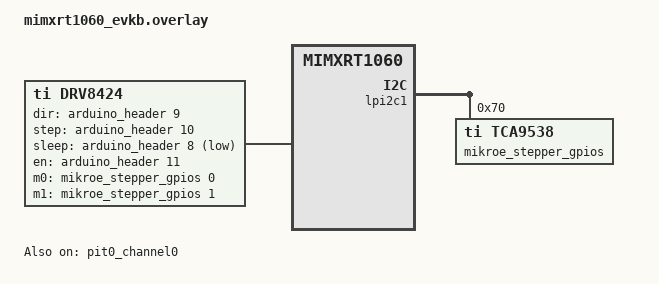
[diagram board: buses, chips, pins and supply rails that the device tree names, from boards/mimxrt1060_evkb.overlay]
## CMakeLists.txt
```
# Copyright (c) 2024 TiaC Systems
# SPDX-License-Identifier: Apache-2.0

cmake_minimum_required(VERSION 3.20.0)

find_package(Zephyr REQUIRED HINTS $ENV{ZEPHYR_BASE})
project(stepper_drv8424)
target_sources(app PRIVATE
	src/main.c
)
```

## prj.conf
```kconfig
# Copyright (c) 2024 TiaC Systems
# SPDX-License-Identifier: Apache-2.0

CONFIG_ZTEST=y
CONFIG_TEST=y
CONFIG_TEST_USERSPACE=y
CONFIG_LOG=y
CONFIG_STEPPER_LOG_LEVEL_DBG=y
CONFIG_STEPPER=y
CONFIG_POLL=y
CONFIG_COUNTER=y
CONFIG_I2C=y
CONFIG_GPIO=y
```

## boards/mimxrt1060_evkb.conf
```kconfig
# Copyright (c) 2024 Jilay Sandeep Pandya
# SPDX-License-Identifier: Apache-2.0

CONFIG_GPIO=y
```

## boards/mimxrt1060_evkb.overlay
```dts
/*
 * Copyright (c) 2024 TiaC Systems
 * SPDX-License-Identifier: Apache-2.0
 */

 #include <zephyr/dt-bindings/gpio/gpio.h>

 / {
	 zephyr,user {
		 stepper-motors = <&drv8424 0>;
	 };
 };
 
 &lpi2c1 {
	 status = "okay";
 
	 mikroe_stepper_gpios: mikroe_stepper_ctrl_tca9538a@70 {
		 status = "okay";
		 compatible = "ti,tca9538";
 
		 reg = < 0x70 >;
 
		 gpio-controller;
		 ngpios = < 8 >;
		 #gpio-cells = < 2 >;
 
		 gpio-reserved-ranges = < 7 1 >;
 
		 gpio-line-names =
			 "M0",
			 "M1",
			 "DEC0",
			 "DEC1",
			 "TOFF",
			 "STP",
			 "DIR";
	 };
 };
 
 / {
 
	 drv8424: drv8424 {
		 status = "okay";
		 compatible = "ti,drv8424";
 
 
		 dir-gpios = < &arduino_header 9 0 >; /* D3 */
		 step-gpios = < &arduino_header 10 0 >; /* D4 */
		 sleep-gpios = < &arduino_header 8 GPIO_ACTIVE_LOW >; /* D2 */
		 en-gpios  = < &arduino_header 11 0 >; /* 5 */
		 m0-gpios = < &mikroe_stepper_gpios 0 0 >;
		 m1-gpios = < &mikroe_stepper_gpios 1 0 >;
		 counter = < &pit0_channel0 >;
 
		 #address-cells = < 1 >;
		 #size-cells = < 0 >;
		 #stepper-motor-cells = < 0 >;
 
	 };
 };
 
 &pit0_channel0 {
	status = "okay";
};
```

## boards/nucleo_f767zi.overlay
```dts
/*
 * Copyright (c) 2024 TiaC Systems
 * SPDX-License-Identifier: Apache-2.0
 */

 #include <zephyr/dt-bindings/gpio/gpio.h>

 / {
	 zephyr,user {
		 stepper-motors = <&drv8424 0>;
	 };
 };
 
 &i2c1 {
	 status = "okay";
 
	 mikroe_stepper_gpios: mikroe_stepper_ctrl_tca9538a@70 {
		 status = "okay";
		 compatible = "ti,tca9538";
 
		 reg = < 0x70 >;
 
		 gpio-controller;
		 ngpios = < 8 >;
		 #gpio-cells = < 2 >;
 
		 gpio-reserved-ranges = < 7 1 >;
 
		 gpio-line-names =
			 "M0",
			 "M1",
			 "DEC0",
			 "DEC1",
			 "TOFF",
			 "STP",
			 "DIR";
	 };
 };
 
 / {
 
	 drv8424: drv8424 {
		 status = "okay";
		 compatible = "ti,drv8424";
 
 
		 dir-gpios = < &arduino_header 18 0 >; /* D12 */
		 step-gpios = < &arduino_header 19 0 >; /* D13 */
		 sleep-gpios = < &arduino_header 15 GPIO_ACTIVE_LOW >; /* D9 */
		 en-gpios  = < &arduino_header 14 0 >; /* D8 */
		 m0-gpios = < &mikroe_stepper_gpios 0 0 >;
		 m1-gpios = < &mikroe_stepper_gpios 1 0 >;
		 counter = < &counter2 >;
 
		 #address-cells = < 1 >;
		 #size-cells = < 0 >;
		 #stepper-motor-cells = < 0 >;
 
	 };
 };
 
 &timers2 {
	 status = "okay";
	 counter2: counter {
		 status = "okay";
	 };
 };
 
```

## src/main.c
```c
/*
 * Copyright 2024 TiaC Systems
 *
 * SPDX-License-Identifier: Apache-2.0
 */

#include "zephyr/drivers/gpio.h"
#include "zephyr/kernel.h"
#include "zephyr/ztest_assert.h"
#include <stdbool.h>
#include <stdint.h>
#include <zephyr/ztest.h>
#include <zephyr/drivers/stepper.h>

struct stepper_fixture {
	const struct device *dev;
	stepper_event_callback_t callback;
};

struct k_poll_signal stepper_signal;
struct k_poll_event stepper_event;

struct gpio_dt_spec en_pin = GPIO_DT_SPEC_GET_OR(DT_NODELABEL(drv8424), en_gpios, {0});
struct gpio_dt_spec slp_pin = GPIO_DT_SPEC_GET_OR(DT_NODELABEL(drv8424), sleep_gpios, {0});

static void stepper_print_event_callback(const struct device *dev, enum stepper_event event,
					 void *dummy)
{
	switch (event) {
	case STEPPER_EVENT_STEPS_COMPLETED:
		k_poll_signal_raise(&stepper_signal, STEPPER_EVENT_STEPS_COMPLETED);
		break;
	case STEPPER_EVENT_LEFT_END_STOP_DETECTED:
		k_poll_signal_raise(&stepper_signal, STEPPER_EVENT_LEFT_END_STOP_DETECTED);
		break;
	case STEPPER_EVENT_RIGHT_END_STOP_DETECTED:
		k_poll_signal_raise(&stepper_signal, STEPPER_EVENT_RIGHT_END_STOP_DETECTED);
		break;
	case STEPPER_EVENT_STALL_DETECTED:
		k_poll_signal_raise(&stepper_signal, STEPPER_EVENT_STALL_DETECTED);
		break;
	default:
		break;
	}
}

static void *stepper_setup(void)
{
	static struct stepper_fixture fixture = {
		.dev = DEVICE_DT_GET(DT_NODELABEL(drv8424)),
		.callback = stepper_print_event_callback,
	};

	k_poll_signal_init(&stepper_signal);
	k_poll_event_init(&stepper_event, K_POLL_TYPE_SIGNAL, K_POLL_MODE_NOTIFY_ONLY,
			  &stepper_signal);

	zassert_not_null(fixture.dev);
	return &fixture;
}

static void stepper_before(void *f)
{
	struct stepper_fixture *fixture = f;
	(void)stepper_set_actual_position(fixture->dev, 0);
	(void)stepper_set_micro_step_res(fixture->dev, 1);
	k_poll_signal_reset(&stepper_signal);
}

static void stepper_after(void *f)
{
	struct stepper_fixture *fixture = f;
	(void)stepper_enable_constant_velocity_mode(fixture->dev, STEPPER_DIRECTION_POSITIVE, 0);
}

ZTEST_SUITE(stepper, NULL, stepper_setup, stepper_before, stepper_after, NULL);

ZTEST_F(stepper, test_micro_step_res_set)
{
	(void)stepper_set_micro_step_res(fixture->dev, 4);
	enum stepper_micro_step_resolution res;
	(void)stepper_get_micro_step_res(fixture->dev, &res);
	zassert_equal(res, 4, "Micro step resolution not set correctly, should be %d but is %d", 4,
		      res);
}

ZTEST_F(stepper, test_micro_step_res_set_incorrect_value_detection)
{
	int ret = 0;
	ret = stepper_set_micro_step_res(fixture->dev, 3);
	zassert_equal(ret, -EINVAL, "Command should fail with error %d but returned %d", -EINVAL,
		      ret);
}

ZTEST_F(stepper, test_actual_position_set)
{
	int32_t pos = 100u;
	(void)stepper_set_actual_position(fixture->dev, pos);
	(void)stepper_get_actual_position(fixture->dev, &pos);
	zassert_equal(pos, 100u, "Actual position not set correctly");
}

ZTEST_F(stepper, test_enable_on_gpio_pins)
{
	int value = 0;
	(void)stepper_enable(fixture->dev, true);
	/* As sleep and enable pins are optional, check if they exist*/
	if (en_pin.port != NULL) {
		value = gpio_pin_get_dt(&en_pin);
		zassert_equal(value, 1, "Enable pin should be set");
	}
	if (slp_pin.port != NULL) {
		value = gpio_pin_get_dt(&slp_pin);
		zassert_equal(value, 0, "Sleep pin should not be set");
	}
}

ZTEST_F(stepper, test_enable_off_gpio_pins)
{
	int value = 0;
	/* Enable first to ensure that disable works correctly and the check is not against values
	 * from initialisation or from previous tests*/
	(void)stepper_enable(fixture->dev, true);
	(void)stepper_enable(fixture->dev, false);
	/* As sleep and enable pins are optional, check if they exist*/
	if (en_pin.port != NULL) {
		value = gpio_pin_get_dt(&en_pin);
		zassert_equal(value, 0, "Enable pin should not be set");
	}
	if (slp_pin.port != NULL) {
		value = gpio_pin_get_dt(&slp_pin);
		zassert_equal(value, 1, "Sleep pin should be set");
	}
}

ZTEST_F(stepper, test_is_not_moving_when_disabled)
{
	int32_t steps = 100;
	bool moving = true;

	(void)stepper_enable(fixture->dev, true);
	(void)stepper_set_max_velocity(fixture->dev, 100u);
	(void)stepper_move(fixture->dev, steps);
	(void)stepper_enable(fixture->dev, false);
	(void)stepper_is_moving(fixture->dev, &moving);
	zassert_false(moving, "Driver should not be in state is_moving after being disabled");
}

ZTEST_F(stepper, test_position_not_updating_when_disabled)
{
	int32_t steps = 1000;
	int32_t position_1 = 0;
	int32_t position_2 = 0;

	(void)stepper_enable(fixture->dev, true);
	(void)stepper_set_max_velocity(fixture->dev, 100u);
	(void)stepper_move(fixture->dev, steps);
	(void)stepper_enable(fixture->dev, false);
	(void)stepper_get_actual_position(fixture->dev, &position_1);
	k_msleep(100);
	(void)stepper_get_actual_position(fixture->dev, &position_2);
	zassert_equal(position_2, position_1,
		      "Actual position should not have changed from %d but is %d", position_1,
		      position_2);
}

ZTEST_F(stepper, test_is_not_moving_when_reenabled_after_movement)
{
	int32_t steps = 1000;
	bool moving = true;

	(void)stepper_enable(fixture->dev, true);
	(void)stepper_set_max_velocity(fixture->dev, 100u);
	(void)stepper_move(fixture->dev, steps);
	(void)stepper_enable(fixture->dev, false);
	(void)k_msleep(100);
	(void)stepper_enable(fixture->dev, true);
	(void)k_msleep(100);
	(void)stepper_is_moving(fixture->dev, &moving);
	zassert_false(moving, "Driver should not be in state is_moving after being reenabled");
}
ZTEST_F(stepper, test_position_not_updating_when_reenabled_after_movement)
{
	int32_t steps = 1000;
	int32_t position_1 = 0;
	int32_t position_2 = 0;

	(void)stepper_enable(fixture->dev, true);
	(void)stepper_set_max_velocity(fixture->dev, 100u);
	(void)stepper_move(fixture->dev, steps);
	(void)stepper_enable(fixture->dev, false);
	(void)stepper_get_actual_position(fixture->dev, &position_1);
	(void)k_msleep(100);
	(void)stepper_enable(fixture->dev, true);
	(void)k_msleep(100);
	(void)stepper_get_actual_position(fixture->dev, &position_2);
	zassert_equal(position_2, position_1,
		      "Actual position should not have changed from %d but is %d", position_1,
		      position_2);
}

ZTEST_F(stepper, test_set_target_position_positive_direction_movement)
{
	int32_t pos = 100;

	(void)stepper_enable(fixture->dev, true);
	(void)stepper_set_max_velocity(fixture->dev, 100u);
	(void)stepper_set_callback(fixture->dev, fixture->callback, NULL);
	(void)stepper_set_target_position(fixture->dev, pos);
	(void)k_poll(&stepper_event, 1, K_SECONDS(5));
	unsigned int signaled;
	int result;

	k_poll_signal_check(&stepper_signal, &signaled, &result);
	zassert_equal(signaled, 1, "Signal not set");
	zassert_equal(result, STEPPER_EVENT_STEPS_COMPLETED, "Signal not set");
	(void)stepper_get_actual_position(fixture->dev, &pos);
	zassert_equal(pos, 100u, "Target position should be %d but is %d", 100u, pos);
}

ZTEST_F(stepper, test_set_target_position_negative_direction_movement)
{
	int32_t pos = -100;

	(void)stepper_enable(fixture->dev, true);
	(void)stepper_set_max_velocity(fixture->dev, 100u);
	(void)stepper_set_callback(fixture->dev, fixture->callback, NULL);
	(void)stepper_set_target_position(fixture->dev, pos);
	(void)k_poll(&stepper_event, 1, K_SECONDS(5));
	unsigned int signaled;
	int result;

	k_poll_signal_check(&stepper_signal, &signaled, &result);
	zassert_equal(signaled, 1, "Signal not set");
	zassert_equal(result, STEPPER_EVENT_STEPS_COMPLETED, "Signal not set");
	(void)stepper_get_actual_position(fixture->dev, &pos);
	zassert_equal(pos, -100, "Target position should be %d but is %d", -100, pos);
}

ZTEST_F(stepper, test_set_target_position_identical_current_and_target_position)
{
	int32_t pos = 0;

	(void)stepper_enable(fixture->dev, true);
	(void)stepper_set_max_velocity(fixture->dev, 100u);
	(void)stepper_set_callback(fixture->dev, fixture->callback, NULL);
	(void)stepper_set_target_position(fixture->dev, pos);
	(void)k_poll(&stepper_event, 1, K_SECONDS(5));
	unsigned int signaled;
	int result;

	k_poll_signal_check(&stepper_signal, &signaled, &result);
	zassert_equal(signaled, 1, "Signal not set");
	zassert_equal(result, STEPPER_EVENT_STEPS_COMPLETED, "Signal not set");
	(void)stepper_get_actual_position(fixture->dev, &pos);
	zassert_equal(pos, 0, "Target position should not have changed from %d but is %d", 0, pos);
}

ZTEST_F(stepper, test_set_target_position_zero_velocity)
{
	int32_t pos = 100;
	int32_t ret = 0;

	(void)stepper_enable(fixture->dev, true);
	(void)stepper_set_max_velocity(fixture->dev, 0u);
	ret = stepper_set_target_position(fixture->dev, pos);

	zassert_not_equal(ret, 0, "Command should fail with an error code, but returned 0");
	k_msleep(100);
	(void)stepper_get_actual_position(fixture->dev, &pos);
	zassert_equal(pos, 0, "Target position should not have changed from %d but is %d", 0, pos);
}

ZTEST_F(stepper, test_set_target_position_is_moving_true_while_moving)
{
	int32_t pos = 100;
	bool moving = false;

	(void)stepper_enable(fixture->dev, true);
	(void)stepper_set_max_velocity(fixture->dev, 100u);
	(void)stepper_set_callback(fixture->dev, fixture->callback, NULL);
	(void)stepper_set_target_position(fixture->dev, pos);
	(void)stepper_is_moving(fixture->dev, &moving);
	zassert_true(moving, "Driver should be in state is_moving while moving");
	(void)k_poll(&stepper_event, 1, K_SECONDS(5));
	unsigned int signaled;
	int result;

	k_poll_signal_check(&stepper_signal, &signaled, &result);
	zassert_equal(signaled, 1, "Signal not set");
	zassert_equal(result, STEPPER_EVENT_STEPS_COMPLETED, "Signal not set");
}

ZTEST_F(stepper, test_set_target_position_is_moving_false_when_completed)
{
	int32_t pos = 100;
	bool moving = false;

	(void)stepper_enable(fixture->dev, true);
	(void)stepper_set_max_velocity(fixture->dev, 100u);
	(void)stepper_set_callback(fixture->dev, fixture->callback, NULL);
	(void)stepper_set_target_position(fixture->dev, pos);
	(void)k_poll(&stepper_event, 1, K_SECONDS(5));
	unsigned int signaled;
	int result;

	k_poll_signal_check(&stepper_signal, &signaled, &result);
	zassert_equal(signaled, 1, "Signal not set");
	zassert_equal(result, STEPPER_EVENT_STEPS_COMPLETED, "Signal not set");
	(void)stepper_is_moving(fixture->dev, &moving);
	zassert_false(moving, "Driver should not be in state is_moving after finishing");
}

ZTEST_F(stepper, test_set_target_position_no_movement_when_disabled)
{
	int32_t pos = 100;
	int32_t curr_pos = 100;
	int32_t ret = 0;

	(void)stepper_set_max_velocity(fixture->dev, 100u);
	(void)stepper_enable(fixture->dev, false);

	ret = stepper_set_target_position(fixture->dev, pos);
	zassert_not_equal(
		ret, 0,
		"Movement command should not run when not enabled and should return error code");
	(void)stepper_get_actual_position(fixture->dev, &curr_pos);
	zassert_equal(curr_pos, 0, "Current position should not have changed from %d but is %d", 0,
		      curr_pos);
}

ZTEST_F(stepper, test_move_positive_step_count)
{
	int32_t steps = 100;

	(void)stepper_enable(fixture->dev, true);
	(void)stepper_set_max_velocity(fixture->dev, 100u);
	(void)stepper_set_callback(fixture->dev, fixture->callback, NULL);
	(void)stepper_move(fixture->dev, steps);
	(void)k_poll(&stepper_event, 1, K_SECONDS(5));
	unsigned int signaled;
	int result;

	k_poll_signal_check(&stepper_signal, &signaled, &result);
	zassert_equal(signaled, 1, "Signal not set");
	zassert_equal(result, STEPPER_EVENT_STEPS_COMPLETED, "Signal not set");
	(void)stepper_get_actual_position(fixture->dev, &steps);
	zassert_equal(steps, 100u, "Target position should be %d but is %d", 100u, steps);
}

ZTEST_F(stepper, test_move_negative_step_count)
{
	int32_t steps = -100;

	(void)stepper_enable(fixture->dev, true);
	(void)stepper_set_max_velocity(fixture->dev, 100u);
	(void)stepper_set_callback(fixture->dev, fixture->callback, NULL);
	(void)stepper_move(fixture->dev, steps);
	(void)k_poll(&stepper_event, 1, K_SECONDS(5));
	unsigned int signaled;
	int result;

	k_poll_signal_check(&stepper_signal, &signaled, &result);
	zassert_equal(signaled, 1, "Signal not set");
	zassert_equal(result, STEPPER_EVENT_STEPS_COMPLETED, "Signal not set");
	(void)stepper_get_actual_position(fixture->dev, &steps);
	zassert_equal(steps, -100, "Target position should be %d but is %d", -100, steps);
}

ZTEST_F(stepper, test_move_zero_steps_no_movement)
{
	int32_t steps = 0;

	(void)stepper_enable(fixture->dev, true);
	(void)stepper_set_max_velocity(fixture->dev, 100u);
	(void)stepper_set_callback(fixture->dev, fixture->callback, NULL);
	(void)stepper_move(fixture->dev, steps);
	(void)k_poll(&stepper_event, 1, K_SECONDS(5));
	unsigned int signaled;
	int result;

	k_poll_signal_check(&stepper_signal, &signaled, &result);
	zassert_equal(signaled, 1, "Signal not set");
	zassert_equal(result, STEPPER_EVENT_STEPS_COMPLETED, "Signal not set");
	(void)stepper_get_actual_position(fixture->dev, &steps);
	zassert_equal(steps, 0, "Target position should be %d but is %d", 0, steps);
}

ZTEST_F(stepper, test_move_zero_velocity)
{
	int32_t steps = 100;
	int32_t ret = 0;
	int32_t pos = 100;

	(void)stepper_enable(fixture->dev, true);
	(void)stepper_set_max_velocity(fixture->dev, 0u);
	ret = stepper_move(fixture->dev, steps);

	zassert_not_equal(ret, 0, "Command should fail with an error code, but returned 0");
	k_msleep(100);
	(void)stepper_get_actual_position(fixture->dev, &pos);
	zassert_equal(pos, 0, "Target position should not have changed from %d but is %d", 0, pos);
}

ZTEST_F(stepper, test_move_is_moving_true_while_moving)
{
	int32_t steps = 100;
	bool moving = false;

	(void)stepper_enable(fixture->dev, true);
	(void)stepper_set_max_velocity(fixture->dev, 100u);
	(void)stepper_set_callback(fixture->dev, fixture->callback, NULL);
	(void)stepper_move(fixture->dev, steps);
	(void)stepper_is_moving(fixture->dev, &moving);
	zassert_true(moving, "Driver should be in state is_moving");
	(void)k_poll(&stepper_event, 1, K_SECONDS(5));
	unsigned int signaled;
	int result;

	k_poll_signal_check(&stepper_signal, &signaled, &result);
	zassert_equal(signaled, 1, "Signal not set");
	zassert_equal(result, STEPPER_EVENT_STEPS_COMPLETED, "Signal not set");
}

ZTEST_F(stepper, test_move_is_moving_false_when_completed)
{
	int32_t steps = 100;
	bool moving = true;

	(void)stepper_enable(fixture->dev, true);
	(void)stepper_set_max_velocity(fixture->dev, 100u);
	(void)stepper_set_callback(fixture->dev, fixture->callback, NULL);
	(void)stepper_move(fixture->dev, steps);
	(void)k_poll(&stepper_event, 1, K_SECONDS(5));
	unsigned int signaled;
	int result;

	k_poll_signal_check(&stepper_signal, &signaled, &result);
	zassert_equal(signaled, 1, "Signal not set");
	zassert_equal(result, STEPPER_EVENT_STEPS_COMPLETED, "Signal not set");
	(void)stepper_is_moving(fixture->dev, &moving);
	zassert_false(moving, "Driver should not be in state is_moving after completion");
}

ZTEST_F(stepper, test_move_no_movement_when_disabled)
{
	int32_t steps = 100;
	int32_t curr_pos = 100;
	int32_t ret = 0;

	(void)stepper_set_max_velocity(fixture->dev, 100u);
	(void)stepper_enable(fixture->dev, false);

	ret = stepper_move(fixture->dev, steps);
	zassert_not_equal(ret, 0, "Movement command should not run when not enabled");
	(void)stepper_get_actual_position(fixture->dev, &curr_pos);
	zassert_equal(curr_pos, 0, "Current position should not have changed from %d but is %d", 0,
		      curr_pos);
}

ZTEST_F(stepper, test_constant_velocity_mode_positive_direction_correct_position)
{
	int32_t velocity = 100;
	int32_t steps = 0;

	(void)stepper_enable(fixture->dev, true);
	(void)stepper_enable_constant_velocity_mode(fixture->dev, STEPPER_DIRECTION_POSITIVE,
						    velocity);
	k_msleep(100);

	(void)stepper_get_actual_position(fixture->dev, &steps);
	zassert_true(steps > 0, "Current position should be positive but is %d", steps);
}

ZTEST_F(stepper, test_constant_velocity_mode_negative_direction_correct_position)
{
	int32_t velocity = 100;
	int32_t steps = 0;

	(void)stepper_enable(fixture->dev, true);
	(void)stepper_enable_constant_velocity_mode(fixture->dev, STEPPER_DIRECTION_NEGATIVE,
						    velocity);
	k_msleep(100);

	(void)stepper_get_actual_position(fixture->dev, &steps);
	zassert_true(steps < 0, "Current position should be negative but is %d", steps);
}

ZTEST_F(stepper, test_constant_velocity_mode_zero_velocity_correct_position)
{
	int32_t velocity = 0;
	int32_t steps = 0;

	(void)stepper_enable(fixture->dev, true);
	(void)stepper_enable_constant_velocity_mode(fixture->dev, STEPPER_DIRECTION_POSITIVE,
						    velocity);
	k_msleep(100);

	zassert_equal(steps, 0, "Current position should not have changed from %d but is %d", 0,
		      steps);
}

ZTEST_F(stepper, test_constant_velocity_mode_is_moving_true_when_velocity_greater_zero)
{
	int32_t velocity = 100;
	bool moving = false;

	(void)stepper_enable(fixture->dev, true);
	(void)stepper_enable_constant_velocity_mode(fixture->dev, STEPPER_DIRECTION_POSITIVE,
						    velocity);
	(void)stepper_is_moving(fixture->dev, &moving);
	zassert_true(moving, "Driver should be in state is_moving");
	(void)stepper_enable_constant_velocity_mode(fixture->dev, STEPPER_DIRECTION_POSITIVE, 0);
}

ZTEST_F(stepper, test_constant_velocity_mode_is_moving_false_when_velocity_zero)
{
	int32_t velocity = 100;
	bool moving = true;

	(void)stepper_enable(fixture->dev, true);
	(void)stepper_enable_constant_velocity_mode(fixture->dev, STEPPER_DIRECTION_POSITIVE,
						    velocity);
	(void)stepper_enable_constant_velocity_mode(fixture->dev, STEPPER_DIRECTION_POSITIVE, 0);
	(void)stepper_is_moving(fixture->dev, &moving);
	zassert_false(moving, "Driver should not be in state is_moving when velocity is 0");
}

ZTEST_F(stepper, test_constant_velocity_mode_no_movement_when_disabled)
{
	int32_t velocity = 100;
	int32_t steps = 100;
	int32_t ret = 0;

	(void)stepper_enable(fixture->dev, false);

	ret = stepper_enable_constant_velocity_mode(fixture->dev, STEPPER_DIRECTION_POSITIVE,
						    velocity);
	zassert_not_equal(ret, 0, "Movement command should not run when not enabled");
	(void)stepper_get_actual_position(fixture->dev, &steps);
	zassert_equal(steps, 0, "Current position should not have changed from %d but is %d", 0,
		      steps);
}
```
